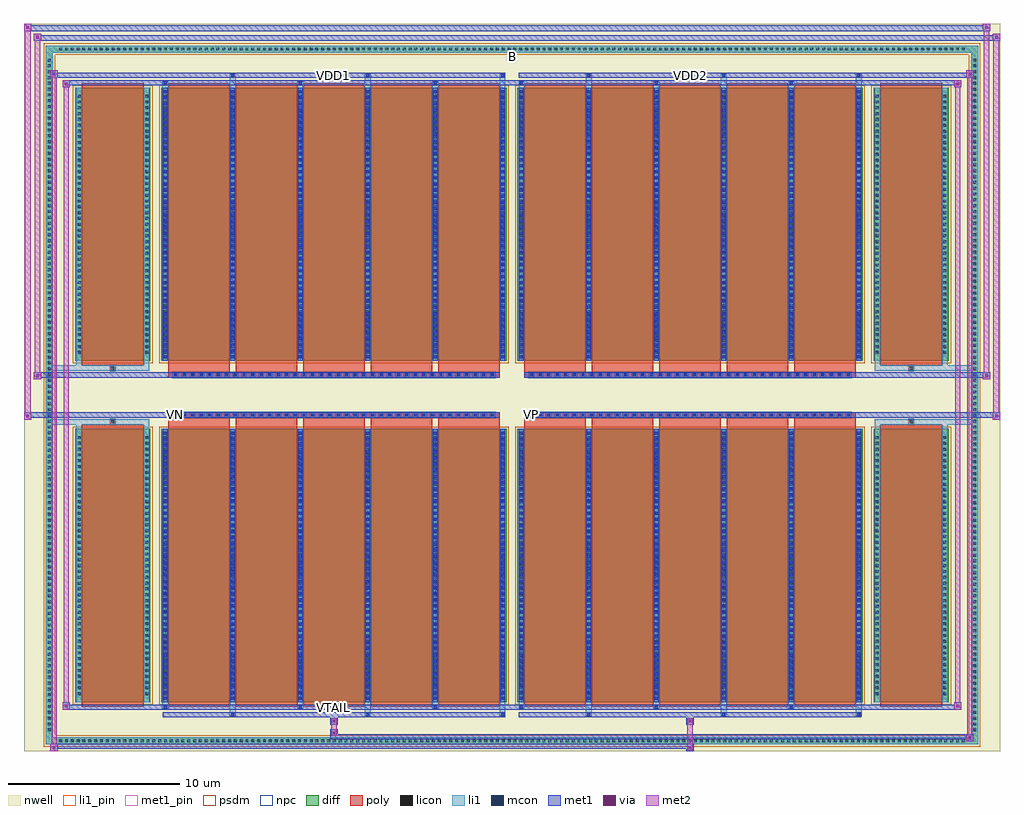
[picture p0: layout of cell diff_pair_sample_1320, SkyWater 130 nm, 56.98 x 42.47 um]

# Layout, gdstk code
import gdstk
lib = gdstk.Library(unit=1e-6, precision=5e-09)
def R(c, l, rs):  # rectangles x0, y0, x1, y1
    for r in rs: c.add(gdstk.rectangle(r[:2], r[2:], *l))
def A(c, l, x, y, w, h, nx, ny, dx, dy):  # array of equal rectangles
    R(c, l, [(x+i*dx, y+j*dy, x+i*dx+w, y+j*dy+h) for i in range(nx) for j in range(ny)])
def P(c, l, *ps):  # polygons
    for p in ps: c.add(gdstk.Polygon(p, *l))
nwell = (64, 20)
diff = (65, 20)
poly = (66, 20)
licon = (66, 44)
li1_pin = (67, 16)
li1 = (67, 20)
mcon = (67, 44)
met1_pin = (68, 16)
met1 = (68, 20)
via = (68, 44)
met2 = (69, 20)
psdm = (94, 20)
npc = (95, 20)

diff_pair_sample_1320 = lib.new_cell('diff_pair_sample_1320')
R(diff_pair_sample_1320, nwell, [(-28.49,-20.8,28.49,21.67), (-25.81,-18.99,-0.01,-0.805), (0.01,-18.99,25.81,-0.805), (-25.81,0.805,-0.01,18.99), (0.01,0.805,25.81,18.99)])
A(diff_pair_sample_1320, diff, -26.555, -20.4, 0.41, 0.41, 156, 2, 0.34, 40.39)
A(diff_pair_sample_1320, diff, -27.22, -19.755, 0.41, 0.41, 1, 116, 0, 0.34)
A(diff_pair_sample_1320, diff, 26.81, -19.755, 0.41, 0.41, 1, 116, 0, 0.34)
R(diff_pair_sample_1320, diff, [(-26.555,-20.4,26.555,-19.99), (-27.22,-19.755,-26.81,19.755), (26.81,-19.755,27.22,19.755), (-25.5,-17.945,-21.11,-1.985), (-20.47,-17.945,-0.32,-1.985), (0.32,-17.945,20.47,-1.985), (21.11,-17.945,25.5,-1.985), (-25.5,1.985,-21.11,17.945), (-20.47,1.985,-0.32,17.945), (0.32,1.985,20.47,17.945), (21.11,1.985,25.5,17.945), (-26.555,19.99,26.555,20.4)])
P(diff_pair_sample_1320, diff, [(27.22,20.4),(-27.22,20.4),(-27.22,-19.99),(-26.81,-19.99),(-26.81,19.99),(26.81,19.99),(26.81,-19.99),(-26.81,-19.99),(-27.22,-19.99),(-27.22,-20.4),(27.22,-20.4)])
A(diff_pair_sample_1320, poly, -20.08, -18.195, 3.61, 16.46, 5, 2, 3.94, 19.93)
A(diff_pair_sample_1320, poly, 0.71, -18.195, 3.61, 16.46, 5, 2, 3.94, 19.93)
A(diff_pair_sample_1320, poly, -20.08, -1.735, 3.61, 0.4, 5, 2, 3.94, 3.07)
A(diff_pair_sample_1320, poly, 0.71, -1.735, 3.61, 0.4, 5, 2, 3.94, 3.07)
A(diff_pair_sample_1320, poly, -19.81, -1.335, 0.33, 0.33, 38, 2, 0.5, 2.34)
A(diff_pair_sample_1320, poly, 0.98, -1.335, 0.33, 0.33, 38, 2, 0.5, 2.34)
R(diff_pair_sample_1320, poly, [(-25.11,-18.195,-21.5,-1.735), (21.5,-18.195,25.11,-1.735), (-23.47,-1.735,-23.14,-1.405), (-23.47,-1.735,-23.14,-1.405), (23.14,-1.735,23.47,-1.405), (23.14,-1.735,23.47,-1.405), (-20.08,-1.335,-0.71,-1.005), (0.71,-1.335,20.08,-1.005), (-20.08,1.005,-0.71,1.335), (0.71,1.005,20.08,1.335), (-23.47,1.405,-23.14,1.735), (-23.47,1.405,-23.14,1.735), (23.14,1.405,23.47,1.735), (23.14,1.405,23.47,1.735), (-25.11,1.735,-21.5,18.195), (21.5,1.735,25.11,18.195)])
A(diff_pair_sample_1320, licon, -26.435, -20.28, 0.17, 0.17, 156, 2, 0.34, 40.39)
A(diff_pair_sample_1320, licon, -27.1, -19.635, 0.17, 0.17, 1, 116, 0, 0.34)
A(diff_pair_sample_1320, licon, 26.93, -19.635, 0.17, 0.17, 1, 116, 0, 0.34)
A(diff_pair_sample_1320, licon, -25.36, -17.53, 0.17, 0.17, 1, 45, 0, 0.34)
A(diff_pair_sample_1320, licon, -21.42, -17.53, 0.17, 0.17, 1, 45, 0, 0.34)
A(diff_pair_sample_1320, licon, -20.33, -17.53, 0.17, 0.17, 6, 45, 3.94, 0.34)
A(diff_pair_sample_1320, licon, 0.46, -17.53, 0.17, 0.17, 6, 45, 3.94, 0.34)
A(diff_pair_sample_1320, licon, 21.25, -17.53, 0.17, 0.17, 1, 45, 0, 0.34)
A(diff_pair_sample_1320, licon, 25.19, -17.53, 0.17, 0.17, 1, 45, 0, 0.34)
A(diff_pair_sample_1320, licon, -19.73, -1.255, 0.17, 0.17, 38, 2, 0.5, 2.34)
A(diff_pair_sample_1320, licon, 1.06, -1.255, 0.17, 0.17, 38, 2, 0.5, 2.34)
A(diff_pair_sample_1320, licon, -25.36, 2.4, 0.17, 0.17, 1, 45, 0, 0.34)
A(diff_pair_sample_1320, licon, -21.42, 2.4, 0.17, 0.17, 1, 45, 0, 0.34)
A(diff_pair_sample_1320, licon, -20.33, 2.4, 0.17, 0.17, 6, 45, 3.94, 0.34)
A(diff_pair_sample_1320, licon, 0.46, 2.4, 0.17, 0.17, 6, 45, 3.94, 0.34)
A(diff_pair_sample_1320, licon, 21.25, 2.4, 0.17, 0.17, 1, 45, 0, 0.34)
A(diff_pair_sample_1320, licon, 25.19, 2.4, 0.17, 0.17, 1, 45, 0, 0.34)
R(diff_pair_sample_1320, licon, [(-23.39,-1.655,-23.22,-1.485), (23.22,-1.655,23.39,-1.485), (-23.39,1.485,-23.22,1.655), (23.22,1.485,23.39,1.655)])
R(diff_pair_sample_1320, li1_pin, [(-0.25,19.49,0.25,19.99)])
A(diff_pair_sample_1320, li1, -26.515, -20.36, 0.33, 0.33, 156, 2, 0.34, 40.39)
A(diff_pair_sample_1320, li1, -27.18, -19.715, 0.33, 0.33, 1, 116, 0, 0.34)
A(diff_pair_sample_1320, li1, 26.85, -19.715, 0.33, 0.33, 1, 116, 0, 0.34)
A(diff_pair_sample_1320, li1, -16.47, -18.75, 0.33, 0.805, 3, 2, 7.88, 36.695)
A(diff_pair_sample_1320, li1, -16.39, -18.75, 0.17, 0.17, 3, 2, 7.88, 37.33)
A(diff_pair_sample_1320, li1, 4.32, -18.75, 0.33, 0.805, 3, 2, 7.88, 36.695)
A(diff_pair_sample_1320, li1, 4.4, -18.75, 0.17, 0.17, 3, 2, 7.88, 37.33)
A(diff_pair_sample_1320, li1, -20.41, -18.32, 0.33, 0.375, 3, 2, 7.88, 36.265)
A(diff_pair_sample_1320, li1, -20.33, -18.32, 0.17, 0.17, 3, 2, 7.88, 36.47)
A(diff_pair_sample_1320, li1, 0.38, -18.32, 0.33, 0.375, 3, 2, 7.88, 36.265)
A(diff_pair_sample_1320, li1, 0.46, -18.32, 0.17, 0.17, 3, 2, 7.88, 36.47)
A(diff_pair_sample_1320, li1, -20.41, -17.945, 0.33, 15.96, 6, 2, 3.94, 19.93)
A(diff_pair_sample_1320, li1, 0.38, -17.945, 0.33, 15.96, 6, 2, 3.94, 19.93)
A(diff_pair_sample_1320, li1, -20.33, -17.79, 0.17, 0.17, 6, 44, 3.94, 0.36)
A(diff_pair_sample_1320, li1, -20.33, -17.79, 0.17, 15.65, 6, 2, 3.94, 19.93)
A(diff_pair_sample_1320, li1, 0.46, -17.79, 0.17, 0.17, 6, 44, 3.94, 0.36)
A(diff_pair_sample_1320, li1, 0.46, -17.79, 0.17, 15.65, 6, 2, 3.94, 19.93)
A(diff_pair_sample_1320, li1, -25.44, -17.61, 0.33, 0.33, 1, 45, 0, 0.34)
A(diff_pair_sample_1320, li1, -21.5, -17.61, 0.33, 0.33, 1, 45, 0, 0.34)
A(diff_pair_sample_1320, li1, -20.41, -17.61, 0.33, 0.33, 6, 45, 3.94, 0.34)
A(diff_pair_sample_1320, li1, 0.38, -17.61, 0.33, 0.33, 6, 45, 3.94, 0.34)
A(diff_pair_sample_1320, li1, 21.17, -17.61, 0.33, 0.33, 1, 45, 0, 0.34)
A(diff_pair_sample_1320, li1, 25.11, -17.61, 0.33, 0.33, 1, 45, 0, 0.34)
A(diff_pair_sample_1320, li1, -19.81, -1.335, 0.33, 0.33, 38, 2, 0.5, 2.34)
A(diff_pair_sample_1320, li1, 0.98, -1.335, 0.33, 0.33, 38, 2, 0.5, 2.34)
A(diff_pair_sample_1320, li1, -20.33, 2.14, 0.17, 0.17, 6, 44, 3.94, 0.36)
A(diff_pair_sample_1320, li1, 0.46, 2.14, 0.17, 0.17, 6, 44, 3.94, 0.36)
A(diff_pair_sample_1320, li1, -25.44, 2.32, 0.33, 0.33, 1, 45, 0, 0.34)
A(diff_pair_sample_1320, li1, -21.5, 2.32, 0.33, 0.33, 1, 45, 0, 0.34)
A(diff_pair_sample_1320, li1, -20.41, 2.32, 0.33, 0.33, 6, 45, 3.94, 0.34)
A(diff_pair_sample_1320, li1, 0.38, 2.32, 0.33, 0.33, 6, 45, 3.94, 0.34)
A(diff_pair_sample_1320, li1, 21.17, 2.32, 0.33, 0.33, 1, 45, 0, 0.34)
A(diff_pair_sample_1320, li1, 25.11, 2.32, 0.33, 0.33, 1, 45, 0, 0.34)
R(diff_pair_sample_1320, li1, [(-27.22,-20.4,-26.81,-19.99), (-27.22,-20.4,-26.81,-19.99), (-26.81,-20.4,26.81,-19.99), (26.81,-20.4,27.22,-19.99), (26.81,-20.4,27.22,-19.99), (-27.22,-19.99,-26.81,19.99), (26.81,-19.99,27.22,19.99), (-25.44,-17.945,-25.11,-1.985), (-21.5,-17.945,-21.17,-1.985), (21.17,-17.945,21.5,-1.985), (25.11,-17.945,25.44,-1.985), (-25.44,-1.985,-25.11,-1.405), (-21.5,-1.985,-21.17,-1.405), (21.17,-1.985,21.5,-1.405), (25.11,-1.985,25.44,-1.405), (-27.22,-1.735,-23.47,-1.405), (-25.44,-1.735,-23.47,-1.405), (-23.47,-1.735,-23.14,-1.405), (-23.14,-1.735,-21.17,-1.405), (21.17,-1.735,23.14,-1.405), (23.14,-1.735,23.47,-1.405), (23.14,-1.735,27.22,-1.405), (23.47,-1.735,25.44,-1.405), (-27.22,1.405,-23.47,1.735), (-25.44,1.405,-23.47,1.735), (-25.44,1.405,-25.11,1.985), (-23.47,1.405,-23.14,1.735), (-23.14,1.405,-21.17,1.735), (-21.5,1.405,-21.17,1.985), (21.17,1.405,23.14,1.735), (21.17,1.405,21.5,1.985), (23.14,1.405,23.47,1.735), (23.14,1.405,27.22,1.735), (23.47,1.405,25.44,1.735), (25.11,1.405,25.44,1.985), (-25.44,1.985,-25.11,17.945), (-21.5,1.985,-21.17,17.945), (21.17,1.985,21.5,17.945), (25.11,1.985,25.44,17.945), (-27.22,19.99,-26.81,20.4), (-27.22,19.99,-26.81,20.4), (-26.81,19.99,26.81,20.4), (26.81,19.99,27.22,20.4), (26.81,19.99,27.22,20.4)])
A(diff_pair_sample_1320, mcon, -16.39, -18.75, 0.17, 0.17, 3, 2, 7.88, 37.33)
A(diff_pair_sample_1320, mcon, 4.4, -18.75, 0.17, 0.17, 3, 2, 7.88, 37.33)
A(diff_pair_sample_1320, mcon, -20.33, -18.32, 0.17, 0.17, 3, 2, 7.88, 36.47)
A(diff_pair_sample_1320, mcon, 0.46, -18.32, 0.17, 0.17, 3, 2, 7.88, 36.47)
A(diff_pair_sample_1320, mcon, -20.33, -17.79, 0.17, 0.17, 6, 44, 3.94, 0.36)
A(diff_pair_sample_1320, mcon, 0.46, -17.79, 0.17, 0.17, 6, 44, 3.94, 0.36)
A(diff_pair_sample_1320, mcon, -19.73, -1.255, 0.17, 0.17, 38, 2, 0.5, 2.34)
A(diff_pair_sample_1320, mcon, 1.06, -1.255, 0.17, 0.17, 38, 2, 0.5, 2.34)
A(diff_pair_sample_1320, mcon, -20.33, 2.14, 0.17, 0.17, 6, 44, 3.94, 0.36)
A(diff_pair_sample_1320, mcon, 0.46, 2.14, 0.17, 0.17, 6, 44, 3.94, 0.36)
R(diff_pair_sample_1320, met1_pin, [(-10.53,-18.36,-10.26,-18.09), (-19.78,-1.295,-19.51,-1.025), (1.01,-1.295,1.28,-1.025), (-10.53,18.54,-10.26,18.81), (10.26,18.54,10.53,18.81)])
A(diff_pair_sample_1320, met1, -16.45, -18.81, 0.29, 0.29, 3, 2, 7.88, 37.33)
A(diff_pair_sample_1320, met1, 4.34, -18.81, 0.29, 0.29, 3, 2, 7.88, 37.33)
A(diff_pair_sample_1320, met1, -20.39, -18.38, 0.29, 0.29, 3, 2, 7.88, 36.47)
A(diff_pair_sample_1320, met1, 0.4, -18.38, 0.29, 0.29, 3, 2, 7.88, 36.47)
A(diff_pair_sample_1320, met1, -20.39, -17.945, 0.29, 15.96, 6, 2, 3.94, 19.93)
A(diff_pair_sample_1320, met1, 0.4, -17.945, 0.29, 15.96, 6, 2, 3.94, 19.93)
A(diff_pair_sample_1320, met1, -20.39, -17.85, 0.29, 0.29, 6, 44, 3.94, 0.36)
A(diff_pair_sample_1320, met1, 0.4, -17.85, 0.29, 0.29, 6, 44, 3.94, 0.36)
A(diff_pair_sample_1320, met1, -19.79, -1.315, 0.29, 0.29, 38, 2, 0.5, 2.34)
A(diff_pair_sample_1320, met1, 1, -1.315, 0.29, 0.29, 38, 2, 0.5, 2.34)
A(diff_pair_sample_1320, met1, -20.39, 2.08, 0.29, 0.29, 6, 44, 3.94, 0.36)
A(diff_pair_sample_1320, met1, 0.4, 2.08, 0.29, 0.29, 6, 44, 3.94, 0.36)
R(diff_pair_sample_1320, met1, [(-26.95,-20.8,-26.52,-20.37), (10.18,-20.8,10.61,-20.37), (-26.95,-20.66,10.61,-20.37), (26.52,-20.23,26.95,-19.8), (-10.61,-20.09,26.95,-19.8), (-10.61,-19.95,-10.18,-19.52), (-10.61,-19.24,-10.18,-18.81), (10.18,-19.24,10.61,-18.81), (-20.39,-18.81,-0.4,-18.52), (0.4,-18.81,20.39,-18.52), (-26.24,-18.38,-25.81,-17.95), (-26.24,-18.38,-20.39,-18.09), (-20.39,-18.38,-0.4,-18.09), (-0.4,-18.38,0.4,-18.09), (0.4,-18.38,20.39,-18.09), (20.39,-18.38,26.24,-18.09), (25.81,-18.38,26.24,-17.95), (-28.49,-1.435,-28.06,-1.005), (28.06,-1.435,28.49,-1.005), (-28.49,-1.335,-0.71,-1.005), (-20.08,-1.335,-0.71,-1.005), (0.71,-1.335,20.08,-1.005), (0.71,-1.335,28.49,-1.005), (-27.92,0.905,-27.49,1.335), (27.49,0.905,27.92,1.335), (-27.92,1.005,-20.08,1.335), (-20.08,1.005,-0.71,1.335), (0.71,1.005,20.08,1.335), (20.08,1.005,27.92,1.335), (-26.24,17.95,-25.81,18.38), (25.81,17.95,26.24,18.38), (-26.24,18.09,-20.39,18.38), (-20.39,18.09,-0.4,18.38), (-0.4,18.09,0.4,18.38), (0.4,18.09,20.39,18.38), (20.39,18.09,26.24,18.38), (-26.95,18.52,-26.52,18.95), (-26.95,18.52,-20.39,18.81), (-20.39,18.52,-0.4,18.81), (0.4,18.52,20.39,18.81), (20.39,18.52,26.95,18.81), (26.52,18.52,26.95,18.95), (-27.92,20.67,-27.49,21.1), (-27.92,20.67,-25.81,21), (-25.81,20.67,25.81,21), (25.81,20.67,28.49,21), (28.06,20.67,28.49,21.1), (-28.49,21.24,-28.06,21.67), (-28.49,21.24,-25.81,21.57), (-25.81,21.24,25.81,21.57), (25.81,21.24,27.92,21.57), (27.49,21.24,27.92,21.67)])
R(diff_pair_sample_1320, via, [(-26.81,-20.66,-26.66,-20.51), (10.32,-20.66,10.47,-20.51), (26.66,-20.09,26.81,-19.94), (-10.47,-19.81,-10.32,-19.66), (-10.47,-19.1,-10.32,-18.95), (10.32,-19.1,10.47,-18.95), (-26.1,-18.24,-25.95,-18.09), (25.95,-18.24,26.1,-18.09), (-28.35,-1.295,-28.2,-1.145), (28.2,-1.295,28.35,-1.145), (-27.78,1.045,-27.63,1.195), (27.63,1.045,27.78,1.195), (-26.1,18.09,-25.95,18.24), (25.95,18.09,26.1,18.24), (-26.81,18.66,-26.66,18.81), (26.66,18.66,26.81,18.81), (-27.78,20.81,-27.63,20.96), (28.2,20.81,28.35,20.96), (-28.35,21.38,-28.2,21.53), (27.63,21.38,27.78,21.53)])
R(diff_pair_sample_1320, met2, [(-26.95,-20.8,-26.52,-20.37), (-26.88,-20.8,-26.59,18.95), (-26.59,-20.8,-26.52,-20.37), (-26.9,-20.75,-26.57,-20.42), (10.23,-20.75,10.56,-20.42), (10.23,-20.42,10.56,-19.19), (26.52,-20.23,26.95,-19.8), (26.59,-20.23,26.88,18.95), (26.88,-20.23,26.95,-19.8), (26.57,-20.18,26.9,-19.85), (-10.56,-19.9,-10.23,-19.57), (-10.56,-19.57,-10.23,-19.19), (-10.56,-19.19,-10.23,-18.86), (10.23,-19.19,10.56,-18.86), (-26.24,-18.38,-25.81,-17.95), (-26.17,-18.38,-25.88,18.38), (-25.88,-18.38,-25.81,-17.95), (25.81,-18.38,26.24,-17.95), (25.88,-18.38,26.17,18.38), (26.17,-18.38,26.24,-17.95), (-26.19,-18.33,-25.86,-18), (25.86,-18.33,26.19,-18), (-28.49,-1.435,-28.06,-1.005), (-28.44,-1.435,-28.11,21.67), (-28.11,-1.435,-28.06,-1.005), (28.06,-1.435,28.49,-1.005), (28.11,-1.435,28.44,21.1), (28.44,-1.435,28.49,-1.005), (-28.44,-1.385,-28.11,-1.055), (28.11,-1.385,28.44,-1.055), (-27.92,0.905,-27.49,1.335), (-27.87,0.905,-27.54,21.1), (-27.54,0.905,-27.49,1.335), (27.49,0.905,27.92,1.335), (27.54,0.905,27.87,21.67), (27.87,0.905,27.92,1.335), (-27.87,0.955,-27.54,1.285), (27.54,0.955,27.87,1.285), (-26.24,17.95,-25.81,18.38), (-25.88,17.95,-25.81,18.38), (25.81,17.95,26.24,18.38), (26.17,17.95,26.24,18.38), (-26.19,18,-25.86,18.33), (25.86,18,26.19,18.33), (-26.95,18.52,-26.52,18.95), (-26.59,18.52,-26.52,18.95), (26.52,18.52,26.95,18.95), (26.88,18.52,26.95,18.95), (-26.9,18.57,-26.57,18.9), (26.57,18.57,26.9,18.9), (-27.92,20.67,-27.49,21.1), (-27.54,20.67,-27.49,21.1), (28.06,20.67,28.49,21.1), (28.44,20.67,28.49,21.1), (-27.87,20.72,-27.54,21.05), (28.11,20.72,28.44,21.05), (-28.49,21.24,-28.06,21.67), (-28.11,21.24,-28.06,21.67), (27.49,21.24,27.92,21.67), (27.87,21.24,27.92,21.67), (-28.44,21.29,-28.11,21.62), (27.54,21.29,27.87,21.62)])
R(diff_pair_sample_1320, psdm, [(-25.63,-18.075,-20.98,-1.855), (-20.6,-18.075,-0.19,-1.855), (0.19,-18.075,20.6,-1.855), (20.98,-18.075,25.63,-1.855), (-25.63,1.855,-20.98,18.075), (-20.6,1.855,-0.19,18.075), (0.19,1.855,20.6,18.075), (20.98,1.855,25.63,18.075)])
P(diff_pair_sample_1320, psdm, [(27.35,20.53),(-27.35,20.53),(-27.35,-19.86),(-26.68,-19.86),(-26.68,19.86),(26.68,19.86),(26.68,-19.86),(-26.68,-19.86),(-27.35,-19.86),(-27.35,-20.53),(27.35,-20.53)])
A(diff_pair_sample_1320, npc, -19.83, -1.355, 0.37, 0.37, 38, 2, 0.5, 2.34)
A(diff_pair_sample_1320, npc, 0.96, -1.355, 0.37, 0.37, 38, 2, 0.5, 2.34)
R(diff_pair_sample_1320, npc, [(-23.49,-1.755,-23.12,-1.385), (23.12,-1.755,23.49,-1.385), (-19.83,-1.355,-18.96,-0.985), (-19.83,-1.355,-18.96,-0.985), (-19.33,-1.355,-18.46,-0.985), (-19.33,-1.355,-18.46,-0.985), (-18.83,-1.355,-17.96,-0.985), (-18.83,-1.355,-17.96,-0.985), (-18.33,-1.355,-17.46,-0.985), (-18.33,-1.355,-17.46,-0.985), (-17.83,-1.355,-16.96,-0.985), (-17.83,-1.355,-16.96,-0.985), (-17.33,-1.355,-16.46,-0.985), (-17.33,-1.355,-16.46,-0.985), (-16.83,-1.355,-15.96,-0.985), (-16.83,-1.355,-15.96,-0.985), (-16.33,-1.355,-15.46,-0.985), (-16.33,-1.355,-15.46,-0.985), (-15.83,-1.355,-14.96,-0.985), (-15.83,-1.355,-14.96,-0.985), (-15.33,-1.355,-14.46,-0.985), (-15.33,-1.355,-14.46,-0.985), (-14.83,-1.355,-13.96,-0.985), (-14.83,-1.355,-13.96,-0.985), (-14.33,-1.355,-13.46,-0.985), (-14.33,-1.355,-13.46,-0.985), (-13.83,-1.355,-12.96,-0.985), (-13.83,-1.355,-12.96,-0.985), (-13.33,-1.355,-12.46,-0.985), (-13.33,-1.355,-12.46,-0.985), (-12.83,-1.355,-11.96,-0.985), (-12.83,-1.355,-11.96,-0.985), (-12.33,-1.355,-11.46,-0.985), (-12.33,-1.355,-11.46,-0.985), (-11.83,-1.355,-10.96,-0.985), (-11.83,-1.355,-10.96,-0.985), (-11.33,-1.355,-10.46,-0.985), (-11.33,-1.355,-10.46,-0.985), (-10.83,-1.355,-9.96,-0.985), (-10.83,-1.355,-9.96,-0.985), (-10.33,-1.355,-9.46,-0.985), (-10.33,-1.355,-9.46,-0.985), (-9.83,-1.355,-8.96,-0.985), (-9.83,-1.355,-8.96,-0.985), (-9.33,-1.355,-8.46,-0.985), (-9.33,-1.355,-8.46,-0.985), (-8.83,-1.355,-7.96,-0.985), (-8.83,-1.355,-7.96,-0.985), (-8.33,-1.355,-7.46,-0.985), (-8.33,-1.355,-7.46,-0.985), (-7.83,-1.355,-6.96,-0.985), (-7.83,-1.355,-6.96,-0.985), (-7.33,-1.355,-6.46,-0.985), (-7.33,-1.355,-6.46,-0.985), (-6.83,-1.355,-5.96,-0.985), (-6.83,-1.355,-5.96,-0.985), (-6.33,-1.355,-5.46,-0.985), (-6.33,-1.355,-5.46,-0.985), (-5.83,-1.355,-4.96,-0.985), (-5.83,-1.355,-4.96,-0.985), (-5.33,-1.355,-4.46,-0.985), (-5.33,-1.355,-4.46,-0.985), (-4.83,-1.355,-3.96,-0.985), (-4.83,-1.355,-3.96,-0.985), (-4.33,-1.355,-3.46,-0.985), (-4.33,-1.355,-3.46,-0.985), (-3.83,-1.355,-2.96,-0.985), (-3.83,-1.355,-2.96,-0.985), (-3.33,-1.355,-2.46,-0.985), (-3.33,-1.355,-2.46,-0.985), (-2.83,-1.355,-1.96,-0.985), (-2.83,-1.355,-1.96,-0.985), (-2.33,-1.355,-1.46,-0.985), (-2.33,-1.355,-1.46,-0.985), (-1.83,-1.355,-0.96,-0.985), (-1.83,-1.355,-0.96,-0.985), (0.96,-1.355,1.83,-0.985), (0.96,-1.355,1.83,-0.985), (1.46,-1.355,2.33,-0.985), (1.46,-1.355,2.33,-0.985), (1.96,-1.355,2.83,-0.985), (1.96,-1.355,2.83,-0.985), (2.46,-1.355,3.33,-0.985), (2.46,-1.355,3.33,-0.985), (2.96,-1.355,3.83,-0.985), (2.96,-1.355,3.83,-0.985), (3.46,-1.355,4.33,-0.985), (3.46,-1.355,4.33,-0.985), (3.96,-1.355,4.83,-0.985), (3.96,-1.355,4.83,-0.985), (4.46,-1.355,5.33,-0.985), (4.46,-1.355,5.33,-0.985), (4.96,-1.355,5.83,-0.985), (4.96,-1.355,5.83,-0.985), (5.46,-1.355,6.33,-0.985), (5.46,-1.355,6.33,-0.985), (5.96,-1.355,6.83,-0.985), (5.96,-1.355,6.83,-0.985), (6.46,-1.355,7.33,-0.985), (6.46,-1.355,7.33,-0.985), (6.96,-1.355,7.83,-0.985), (6.96,-1.355,7.83,-0.985), (7.46,-1.355,8.33,-0.985), (7.46,-1.355,8.33,-0.985), (7.96,-1.355,8.83,-0.985), (7.96,-1.355,8.83,-0.985), (8.46,-1.355,9.33,-0.985), (8.46,-1.355,9.33,-0.985), (8.96,-1.355,9.83,-0.985), (8.96,-1.355,9.83,-0.985), (9.46,-1.355,10.33,-0.985), (9.46,-1.355,10.33,-0.985), (9.96,-1.355,10.83,-0.985), (9.96,-1.355,10.83,-0.985), (10.46,-1.355,11.33,-0.985), (10.46,-1.355,11.33,-0.985), (10.96,-1.355,11.83,-0.985), (10.96,-1.355,11.83,-0.985), (11.46,-1.355,12.33,-0.985), (11.46,-1.355,12.33,-0.985), (11.96,-1.355,12.83,-0.985), (11.96,-1.355,12.83,-0.985), (12.46,-1.355,13.33,-0.985), (12.46,-1.355,13.33,-0.985), (12.96,-1.355,13.83,-0.985), (12.96,-1.355,13.83,-0.985), (13.46,-1.355,14.33,-0.985), (13.46,-1.355,14.33,-0.985), (13.96,-1.355,14.83,-0.985), (13.96,-1.355,14.83,-0.985), (14.46,-1.355,15.33,-0.985), (14.46,-1.355,15.33,-0.985), (14.96,-1.355,15.83,-0.985), (14.96,-1.355,15.83,-0.985), (15.46,-1.355,16.33,-0.985), (15.46,-1.355,16.33,-0.985), (15.96,-1.355,16.83,-0.985), (15.96,-1.355,16.83,-0.985), (16.46,-1.355,17.33,-0.985), (16.46,-1.355,17.33,-0.985), (16.96,-1.355,17.83,-0.985), (16.96,-1.355,17.83,-0.985), (17.46,-1.355,18.33,-0.985), (17.46,-1.355,18.33,-0.985), (17.96,-1.355,18.83,-0.985), (17.96,-1.355,18.83,-0.985), (18.46,-1.355,19.33,-0.985), (18.46,-1.355,19.33,-0.985), (18.96,-1.355,19.83,-0.985), (18.96,-1.355,19.83,-0.985), (-19.83,0.985,-18.96,1.355), (-19.83,0.985,-18.96,1.355), (-19.33,0.985,-18.46,1.355), (-19.33,0.985,-18.46,1.355), (-18.83,0.985,-17.96,1.355), (-18.83,0.985,-17.96,1.355), (-18.33,0.985,-17.46,1.355), (-18.33,0.985,-17.46,1.355), (-17.83,0.985,-16.96,1.355), (-17.83,0.985,-16.96,1.355), (-17.33,0.985,-16.46,1.355), (-17.33,0.985,-16.46,1.355), (-16.83,0.985,-15.96,1.355), (-16.83,0.985,-15.96,1.355), (-16.33,0.985,-15.46,1.355), (-16.33,0.985,-15.46,1.355), (-15.83,0.985,-14.96,1.355), (-15.83,0.985,-14.96,1.355), (-15.33,0.985,-14.46,1.355), (-15.33,0.985,-14.46,1.355), (-14.83,0.985,-13.96,1.355), (-14.83,0.985,-13.96,1.355), (-14.33,0.985,-13.46,1.355), (-14.33,0.985,-13.46,1.355), (-13.83,0.985,-12.96,1.355), (-13.83,0.985,-12.96,1.355), (-13.33,0.985,-12.46,1.355), (-13.33,0.985,-12.46,1.355), (-12.83,0.985,-11.96,1.355), (-12.83,0.985,-11.96,1.355), (-12.33,0.985,-11.46,1.355), (-12.33,0.985,-11.46,1.355), (-11.83,0.985,-10.96,1.355), (-11.83,0.985,-10.96,1.355), (-11.33,0.985,-10.46,1.355), (-11.33,0.985,-10.46,1.355), (-10.83,0.985,-9.96,1.355), (-10.83,0.985,-9.96,1.355), (-10.33,0.985,-9.46,1.355), (-10.33,0.985,-9.46,1.355), (-9.83,0.985,-8.96,1.355), (-9.83,0.985,-8.96,1.355), (-9.33,0.985,-8.46,1.355), (-9.33,0.985,-8.46,1.355), (-8.83,0.985,-7.96,1.355), (-8.83,0.985,-7.96,1.355), (-8.33,0.985,-7.46,1.355), (-8.33,0.985,-7.46,1.355), (-7.83,0.985,-6.96,1.355), (-7.83,0.985,-6.96,1.355), (-7.33,0.985,-6.46,1.355), (-7.33,0.985,-6.46,1.355), (-6.83,0.985,-5.96,1.355), (-6.83,0.985,-5.96,1.355), (-6.33,0.985,-5.46,1.355), (-6.33,0.985,-5.46,1.355), (-5.83,0.985,-4.96,1.355), (-5.83,0.985,-4.96,1.355), (-5.33,0.985,-4.46,1.355), (-5.33,0.985,-4.46,1.355), (-4.83,0.985,-3.96,1.355), (-4.83,0.985,-3.96,1.355), (-4.33,0.985,-3.46,1.355), (-4.33,0.985,-3.46,1.355), (-3.83,0.985,-2.96,1.355), (-3.83,0.985,-2.96,1.355), (-3.33,0.985,-2.46,1.355), (-3.33,0.985,-2.46,1.355), (-2.83,0.985,-1.96,1.355), (-2.83,0.985,-1.96,1.355), (-2.33,0.985,-1.46,1.355), (-2.33,0.985,-1.46,1.355), (-1.83,0.985,-0.96,1.355), (-1.83,0.985,-0.96,1.355), (0.96,0.985,1.83,1.355), (0.96,0.985,1.83,1.355), (1.46,0.985,2.33,1.355), (1.46,0.985,2.33,1.355), (1.96,0.985,2.83,1.355), (1.96,0.985,2.83,1.355), (2.46,0.985,3.33,1.355), (2.46,0.985,3.33,1.355), (2.96,0.985,3.83,1.355), (2.96,0.985,3.83,1.355), (3.46,0.985,4.33,1.355), (3.46,0.985,4.33,1.355), (3.96,0.985,4.83,1.355), (3.96,0.985,4.83,1.355), (4.46,0.985,5.33,1.355), (4.46,0.985,5.33,1.355), (4.96,0.985,5.83,1.355), (4.96,0.985,5.83,1.355), (5.46,0.985,6.33,1.355), (5.46,0.985,6.33,1.355), (5.96,0.985,6.83,1.355), (5.96,0.985,6.83,1.355), (6.46,0.985,7.33,1.355), (6.46,0.985,7.33,1.355), (6.96,0.985,7.83,1.355), (6.96,0.985,7.83,1.355), (7.46,0.985,8.33,1.355), (7.46,0.985,8.33,1.355), (7.96,0.985,8.83,1.355), (7.96,0.985,8.83,1.355), (8.46,0.985,9.33,1.355), (8.46,0.985,9.33,1.355), (8.96,0.985,9.83,1.355), (8.96,0.985,9.83,1.355), (9.46,0.985,10.33,1.355), (9.46,0.985,10.33,1.355), (9.96,0.985,10.83,1.355), (9.96,0.985,10.83,1.355), (10.46,0.985,11.33,1.355), (10.46,0.985,11.33,1.355), (10.96,0.985,11.83,1.355), (10.96,0.985,11.83,1.355), (11.46,0.985,12.33,1.355), (11.46,0.985,12.33,1.355), (11.96,0.985,12.83,1.355), (11.96,0.985,12.83,1.355), (12.46,0.985,13.33,1.355), (12.46,0.985,13.33,1.355), (12.96,0.985,13.83,1.355), (12.96,0.985,13.83,1.355), (13.46,0.985,14.33,1.355), (13.46,0.985,14.33,1.355), (13.96,0.985,14.83,1.355), (13.96,0.985,14.83,1.355), (14.46,0.985,15.33,1.355), (14.46,0.985,15.33,1.355), (14.96,0.985,15.83,1.355), (14.96,0.985,15.83,1.355), (15.46,0.985,16.33,1.355), (15.46,0.985,16.33,1.355), (15.96,0.985,16.83,1.355), (15.96,0.985,16.83,1.355), (16.46,0.985,17.33,1.355), (16.46,0.985,17.33,1.355), (16.96,0.985,17.83,1.355), (16.96,0.985,17.83,1.355), (17.46,0.985,18.33,1.355), (17.46,0.985,18.33,1.355), (17.96,0.985,18.83,1.355), (17.96,0.985,18.83,1.355), (18.46,0.985,19.33,1.355), (18.46,0.985,19.33,1.355), (18.96,0.985,19.83,1.355), (18.96,0.985,19.83,1.355), (-23.49,1.385,-23.12,1.755), (23.12,1.385,23.49,1.755)])
diff_pair_sample_1320.add(gdstk.Label('VTAIL', (-10.395,-18.225), layer=68, texttype=5))
diff_pair_sample_1320.add(gdstk.Label('VN', (-19.645,-1.16), layer=68, texttype=5))
diff_pair_sample_1320.add(gdstk.Label('VP', (1.145,-1.16), layer=68, texttype=5))
diff_pair_sample_1320.add(gdstk.Label('B', (0,19.74), layer=67, texttype=5))
diff_pair_sample_1320.add(gdstk.Label('VDD2', (10.395,18.675), layer=68, texttype=5))
diff_pair_sample_1320.add(gdstk.Label('VDD1', (-10.395,18.675), layer=68, texttype=5))

lib.write_gds('diff_pair_sample_1320.gds')
